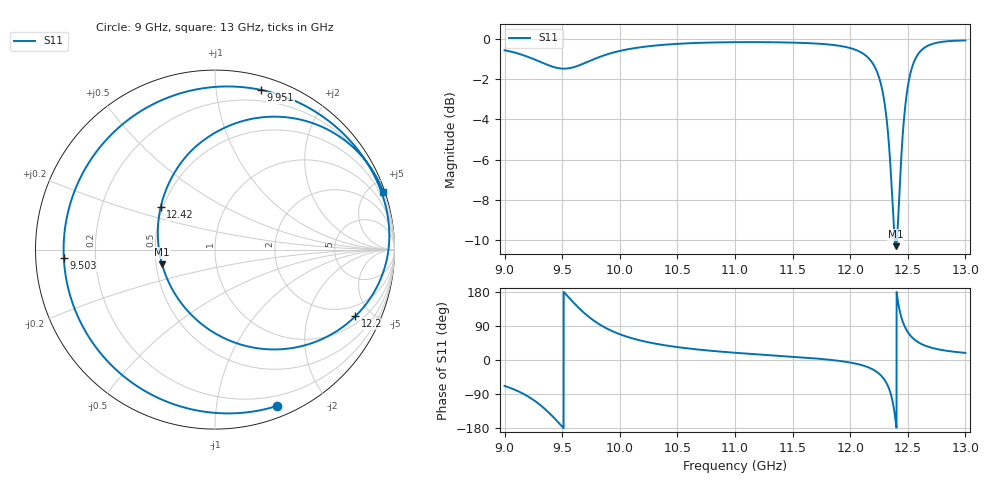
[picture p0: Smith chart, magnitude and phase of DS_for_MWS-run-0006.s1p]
! TOUCHSTONE file generated by CST DESIGN STUDIO
! Date and time: Tue Feb  4 13:25:48 2025
! Project name: C:\Work\MatlabApps\UnitCellOptimizationMatlab\CST\unitcell.cst
! Tree item: Tasks\Sweep1\SPara1\S-Parameters
! Header version: 2024
! Port assignment regex: !\s*Touchstone port\s*([0-9]+)\s*=\s*(CST MWS port|CST DES external port|CST DES block port)\s*(.+)\s* \(\"(.*)\"\)(\s*mode\s*([0-9]+))?.*
! Touchstone port assignment:
! Touchstone port 1 = CST DES external port 1 ("")
# GHz S MA R 50
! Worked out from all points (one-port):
!   4001 points, 9 GHz to 13 GHz, reference 50 ohm
!   lowest |S11| = -10.3 dB at 12.4 GHz (marker M1), VSWR 1.88, Z = 26.9 - j4.89 ohm
!   |S11| at or under -10 dB: 12.38712 GHz to 12.40473 GHz (17.61 MHz wide, 0.142 % of centre)
!   S11 on the Smith chart (normalised r, x): 9 GHz: 0.10, -1.47; 9.503 GHz: 0.08, -0.03; 9.951 GHz: 0.11, +1.32; 12.2 GHz: 1.35, -4.02; 12.42 GHz: 0.49, +0.27; 13 GHz: 0.17, +6.05
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9  0.9368 -68.4
9.169  0.9094 -90.3
9.286  0.8825 -113.3
9.387  0.8588 -139.8
9.5  0.8438 -175.9
9.503  0.8437 -176.9
9.594  0.8497 152.9
9.712  0.8749 118.6
9.816  0.9 95.4
9.951  0.926 73.9
10  0.9333 68.0
10.214  0.956 49.0
10.5  0.9718 34.0
11  0.9812 19.1
11.5  0.9788 8.6
12  0.9488 -6.7
12.199  0.866 -25.3
12.269  0.7675 -41.4
12.326  0.5932 -67.5
12.361  0.4241 -99.6
12.396  0.306 -164.4
12.422  0.3851 141.7
12.46  0.5986 98.2
12.5  0.7613 73.6
12.568  0.8949 51.4
12.657  0.9557 37.2
12.789  0.9822 26.7
13  0.9908 18.7
